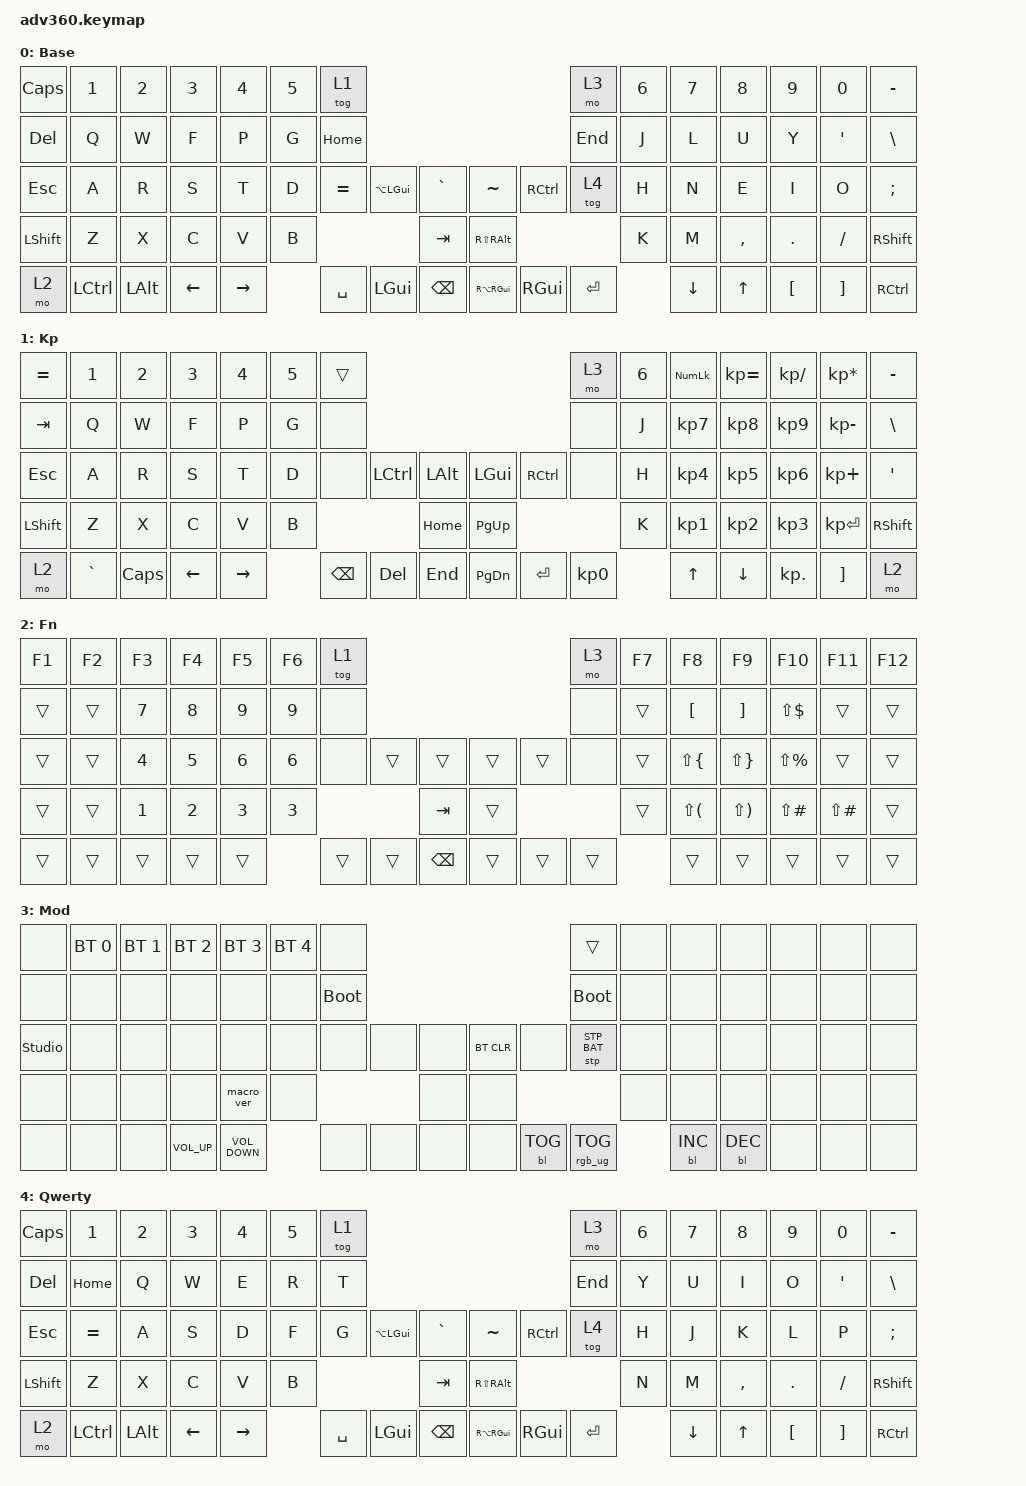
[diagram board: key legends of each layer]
#include <dt-bindings/zmk/stp.h>
#include <behaviors.dtsi>
#include <dt-bindings/zmk/backlight.h>
#include <dt-bindings/zmk/bt.h>
#include <dt-bindings/zmk/keys.h>
#include <dt-bindings/zmk/rgb.h>

/ {
    behaviors {
        #include "macros.dtsi"
      #include "version.dtsi"

        hm: homerow_mods {
            compatible = "zmk,behavior-hold-tap";
            label = "HOMEROW_MODS";
            #binding-cells = <2>;
            tapping-term-ms = <200>;
            quick_tap_ms = <175>;
            flavor = "tap-preferred";
            bindings = <&kp>, <&kp>;
        };
    };

    keymap {
        compatible = "zmk,keymap";

        default_layer {
            display-name = "Base";
            bindings = <
&kp CAPS   &kp N1     &kp N2    &kp N3    &kp N4     &kp N5  &tog 1                                                                        &mo 3    &kp N6  &kp N7    &kp N8     &kp N9    &kp N0    &kp MINUS
&kp DEL    &kp Q      &kp W     &kp F     &kp P      &kp G   &kp HOME                                                                      &kp END  &kp J   &kp L     &kp U      &kp Y     &kp SQT   &kp BSLH
&kp ESC    &kp A      &kp R     &kp S     &kp T      &kp D   &kp EQUAL  &kp LA(LEFT_GUI)  &kp GRAVE      &kp TILDE          &kp RCTRL      &tog 4   &kp H   &kp N     &kp E      &kp I     &kp O     &kp SEMI
&kp LSHFT  &kp Z      &kp X     &kp C     &kp V      &kp B                                &kp TAB        &kp RS(RIGHT_ALT)                          &kp K   &kp M     &kp COMMA  &kp DOT   &kp FSLH  &kp RSHFT
&mo 2      &kp LCTRL  &kp LALT  &kp LEFT  &kp RIGHT          &kp SPACE  &kp LGUI          &kp BSPC       &kp RA(RIGHT_GUI)  &kp RIGHT_GUI  &kp RET          &kp DOWN  &kp UP     &kp LBKT  &kp RBKT  &kp RCTRL
            >;
        };

        keypad {
            display-name = "Kp";
            bindings = <
&kp EQUAL  &kp N1     &kp N2    &kp N3    &kp N4     &kp N5  &trans                                                   &mo 3      &kp N6  &kp KP_NUM  &kp KP_EQUAL  &kp KP_DIVIDE  &kp KP_MULTIPLY  &kp MINUS
&kp TAB    &kp Q      &kp W     &kp F     &kp P      &kp G   &none                                                    &none      &kp J   &kp KP_N7   &kp KP_N8     &kp KP_N9      &kp KP_MINUS     &kp BSLH
&kp ESC    &kp A      &kp R     &kp S     &kp T      &kp D   &none     &kp LCTRL  &kp LALT      &kp LGUI   &kp RCTRL  &none      &kp H   &kp KP_N4   &kp KP_N5     &kp KP_N6      &kp KP_PLUS      &kp SQT
&kp LSHFT  &kp Z      &kp X     &kp C     &kp V      &kp B                        &kp HOME      &kp PG_UP                        &kp K   &kp KP_N1   &kp KP_N2     &kp KP_N3      &kp KP_ENTER     &kp RSHFT
&mo 2      &kp GRAVE  &kp CAPS  &kp LEFT  &kp RIGHT          &kp BSPC  &kp DEL    &kp END       &kp PG_DN  &kp ENTER  &kp KP_N0          &kp UP      &kp DOWN      &kp KP_DOT     &kp RBKT         &mo 2
            >;
        };

        fn {
            display-name = "Fn";
            bindings = <
&kp F1  &kp F2  &kp F3  &kp F4  &kp F5  &kp F6  &tog 1                                             &mo 3   &kp F7  &kp F8        &kp F9        &kp F10        &kp F11        &kp F12
&trans  &trans  &kp N7  &kp N8  &kp N9  &kp N9  &none                                              &none   &trans  &kp LBKT      &kp RBKT      &kp LS(DLLR)   &trans         &trans
&trans  &trans  &kp N4  &kp N5  &kp N6  &kp N6  &none   &trans  &trans             &trans  &trans  &none   &trans  &kp LS(LBRC)  &kp LS(RBRC)  &kp LS(PRCNT)  &trans         &trans
&trans  &trans  &kp N1  &kp N2  &kp N3  &kp N3                  &kp TAB            &trans                  &trans  &kp LS(LPAR)  &kp LS(RPAR)  &kp LS(POUND)  &kp LS(POUND)  &trans
&trans  &trans  &trans  &trans  &trans          &trans  &trans  &kp BACKSPACE      &trans  &trans  &trans          &trans        &trans        &trans         &trans         &trans
            >;
        };

        mod {
            display-name = "Mod";
            bindings = <
&none           &bt BT_SEL 0  &bt BT_SEL 1  &bt BT_SEL 2  &bt BT_SEL 3       &bt BT_SEL 4  &none                                                  &trans           &none  &none       &none       &none  &none  &none
&none           &none         &none         &none         &none              &none         &bootloader                                            &bootloader      &none  &none       &none       &none  &none  &none
&studio_unlock  &none         &none         &none         &none              &none         &none        &none  &none      &bt BT_CLR  &none       &stp STP_BAT     &none  &none       &none       &none  &none  &none
&none           &none         &none         &none         &macro_ver         &none                             &none      &none                                    &none  &none       &none       &none  &none  &none
&none           &none         &none         &kp C_VOL_UP  &kp C_VOLUME_DOWN                &none        &none  &none      &none       &bl BL_TOG  &rgb_ug RGB_TOG         &bl BL_INC  &bl BL_DEC  &none  &none  &none
            >;
        };

        layer_5 {
            display-name = "Qwerty";
            bindings = <
&kp CAPS   &kp N1     &kp N2    &kp N3    &kp N4     &kp N5  &tog 1                                                                        &mo 3    &kp N6  &kp N7    &kp N8     &kp N9    &kp N0    &kp MINUS
&kp DEL    &kp HOME   &kp Q     &kp W     &kp E      &kp R   &kp T                                                                         &kp END  &kp Y   &kp U     &kp I      &kp O     &kp SQT   &kp BSLH
&kp ESC    &kp EQUAL  &kp A     &kp S     &kp D      &kp F   &kp G      &kp LA(LEFT_GUI)  &kp GRAVE      &kp TILDE          &kp RCTRL      &tog 4   &kp H   &kp J     &kp K      &kp L     &kp P     &kp SEMI
&kp LSHFT  &kp Z      &kp X     &kp C     &kp V      &kp B                                &kp TAB        &kp RS(RIGHT_ALT)                          &kp N   &kp M     &kp COMMA  &kp DOT   &kp FSLH  &kp RSHFT
&mo 2      &kp LCTRL  &kp LALT  &kp LEFT  &kp RIGHT          &kp SPACE  &kp LGUI          &kp BSPC       &kp RA(RIGHT_GUI)  &kp RIGHT_GUI  &kp RET          &kp DOWN  &kp UP     &kp LBKT  &kp RBKT  &kp RCTRL
            >;
        };
    };
};
